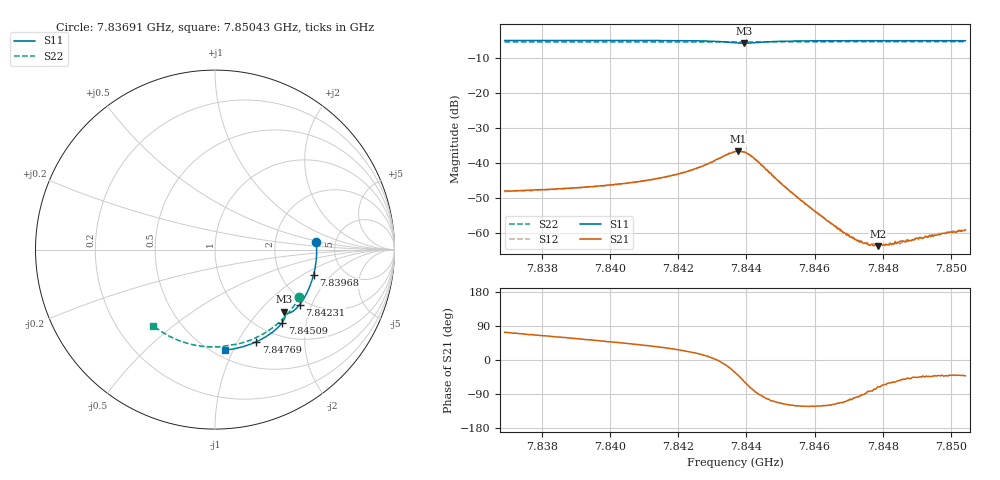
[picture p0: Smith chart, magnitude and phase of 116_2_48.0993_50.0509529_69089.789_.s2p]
#  HZ  S  RI  R  50.00
! Rohde & Schwarz Vector Network Analyzer
! Rohde-Schwarz,ZNB20-2Port,1311601062101988,3.16
! Created: UTC 12/23/2023, 3:46:17 AM
! freq[Hz]  re:S11  im:S11  re:S21  im:S21  re:S12  im:S12  re:S22  im:S22
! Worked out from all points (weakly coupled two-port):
!   401 points, 7.83691 GHz to 7.85043 GHz, reference 50 ohm
!   highest |S21| = -36.65 dB at 7.84377 GHz (marker M1); lowest = -63.9 dB at 7.84786 GHz (marker M2)
!   lowest |S11| = -5.7 dB at 7.84394 GHz (marker M3), VSWR 3.14, Z = 73.2 - j69.2 ohm
!   |S11| at or under -10 dB: nowhere
!   |S22| runs from -5.4 to -5.2 dB; largest |S21 - S12| = 0.00039
!   S11 on the Smith chart (normalised r, x): 7.83691 GHz: 3.55, +0.44; 7.83968 GHz: 3.04, -1.27; 7.84231 GHz: 1.83, -1.64; 7.84509 GHz: 1.24, -1.46; 7.84769 GHz: 0.80, -1.20; 7.85043 GHz: 0.57, -0.93
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7.836906e9  0.5646 0.0418  0.00116 0.00379  0.00117 0.00369  0.4703 -0.2643
7.83917e9  0.5565 -0.1083  0.00255 0.00366  0.00252 0.0036  0.374 -0.3898
7.839677e9  0.549 -0.1416  0.00295 0.00362  0.00289 0.00359  0.3479 -0.4138
7.841435e9  0.5058 -0.2534  0.00496 0.0034  0.00493 0.0034  0.2453 -0.4823
7.842314e9  0.4717 -0.3065  0.00713 0.00287  0.00707 0.0029  0.1889 -0.5072
7.843159e9  0.4229 -0.3501  0.0114 -0.000209  0.0113 -0.000198  0.1319 -0.5242
7.843666e9  0.3873 -0.3536  0.0123 -0.00787  0.0122 -0.00779  0.098 -0.5303
7.843767e9  0.3837 -0.3506  0.0111 -0.00965  0.011 -0.00957  0.0915 -0.531
7.843936e9  0.383 -0.3466  0.00773 -0.0121  0.00789 -0.012  0.0809 -0.5328
7.844105e9  0.3869 -0.3474  0.00394 -0.0123  0.0041 -0.0123  0.0703 -0.535
7.844308e9  0.3913 -0.3564  0.000631 -0.0108  0.000642 -0.0107  0.0566 -0.5376
7.845085e9  0.3738 -0.4077  -0.00204 -0.00425  -0.00206 -0.0043  0.00229 -0.5427
7.84593e9  0.3315 -0.4513  -0.00113 -0.00184  -0.00118 -0.00186  -0.0572 -0.5405
7.846809e9  0.2819 -0.4864  -0.000397 -0.000971  -0.000393 -0.000978  -0.1182 -0.5314
7.847248e9  0.2559 -0.501  -9.33e-05 -0.000757  -9.89e-05 -0.000803  -0.1484 -0.5239
7.847688e9  0.2294 -0.5141  9.46e-05 -0.000673  0.000136 -0.000662  -0.1779 -0.5149
7.847857e9  0.2189 -0.5187  0.000211 -0.000605  0.000192 -0.000671  -0.1891 -0.511
7.848195e9  0.1978 -0.5272  0.000331 -0.000589  0.000328 -0.000628  -0.2112 -0.5025
7.848397e9  0.1851 -0.5318  0.000378 -0.000585  0.000373 -0.000598  -0.2242 -0.4967
7.848566e9  0.1743 -0.5352  0.000463 -0.000604  0.000443 -0.000564  -0.235 -0.4919
7.849918e9  0.0868 -0.5559  0.000748 -0.000676  0.000767 -0.000686  -0.317 -0.4445
7.850425e9  0.0532 -0.5598  0.00082 -0.000736  0.000828 -0.000685  -0.3454 -0.4231
